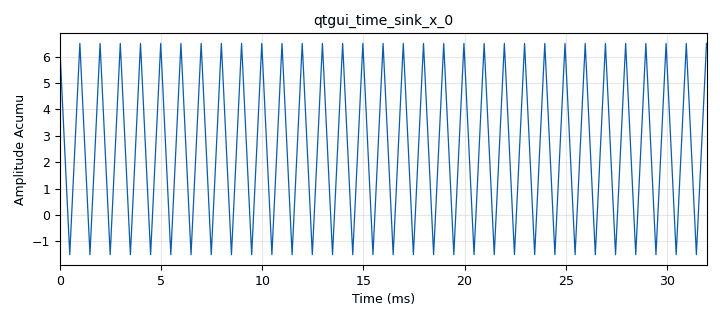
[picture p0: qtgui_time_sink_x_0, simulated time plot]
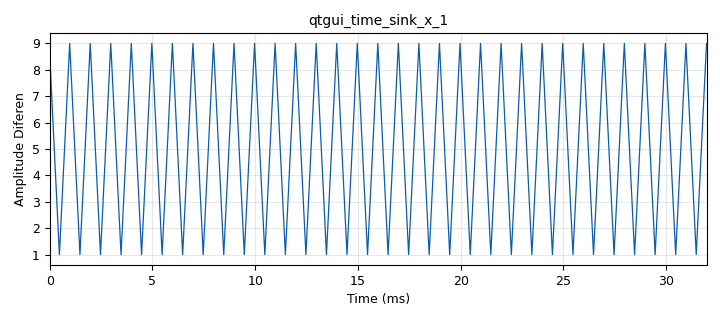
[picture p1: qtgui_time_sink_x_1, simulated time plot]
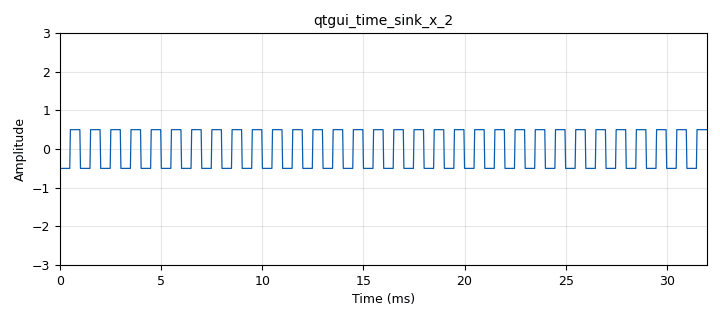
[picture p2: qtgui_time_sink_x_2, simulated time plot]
options:
  parameters:
    author: CARLOS_CARREÑO_JUAN_PINTO
    generate_options: qt_gui
    id: Lab_Comu_II_Acum_Diff
    output_language: python
    title: Lab_Comu_II_Acum_Diff
  states: {}

blocks:
- name: samp_rate
  id: variable
  parameters:
    value: '32000'
  states: {}
- name: analog_sig_source_x_0
  id: analog_sig_source_x
  parameters:
    amp: '1'
    freq: '1000'
    offset: '-0.5'
    phase: '0'
    samp_rate: samp_rate
    type: float
    waveform: analog.GR_SQR_WAVE
  states: {}
- name: epy_block_0
  id: epy_block
  parameters:
    _source_code: |-
      """
      Embedded Python Blocks:

      Each time this file is saved, GRC will instantiate the first class it finds
      to get ports and parameters of your block. The arguments to __init__  will
      be the parameters. All of them are required to have default values!
      """

      import numpy as np
      from gnuradio import gr

      class blk(gr.sync_block ):
          def __init__ ( self ) : # only default arguments here
              gr.sync_block.__init__ (
              self ,
              name ="e_Acum", # will show up in GRC
              in_sig =[ np.float32 ],
              out_sig =[ np.float32 ]
          )
          def work (self , input_items , output_items ):
              x = input_items[0] # Senial de entrada .
              y0 = output_items[0] # Senial acumulada
              y0 [:] = np.cumsum(x)
              #y0 [:] = len(y0)
              return len(y0)
    comment: Acumulador
  states: {}
- name: epy_block_1
  id: epy_block
  parameters:
    _source_code: |
      """
      Embedded Python Blocks:

      Each time this file is saved, GRC will instantiate the first class it finds
      to get ports and parameters of your block. The arguments to __init__  will
      be the parameters. All of them are required to have default values!
      """

      import numpy as np
      from gnuradio import gr

      class blk (gr.sync_block ):
          def __init__( self ) : # only default arguments here
              gr.sync_block.__init__(
                  self ,
                  name = "e_Diff", # will show up in GRC
                  in_sig =[ np.float32 ],
                  out_sig =[ np.float32 ])
              self.acum_anterior = 0.0
          def work (self , input_items , output_items ):
              x = input_items[0] # Senial de entrada .
              y0 = output_items[0] # Senial acumulada diferencial
              N = len(x)
              diff = np.cumsum(x) - self.acum_anterior
              self.acum_anterior = diff[N -1]
              y0 [:] = diff
              return len(y0)
    comment: Diferenciador
  states: {}
- name: qtgui_time_sink_x_0
  id: qtgui_time_sink_x
  parameters:
    autoscale: 'True'
    size: '1024'
    srate: samp_rate
    type: float
    ylabel: Amplitude Acumu
    ymax: '5'
    ymin: '-5'
  states: {}
- name: qtgui_time_sink_x_1
  id: qtgui_time_sink_x
  parameters:
    autoscale: 'True'
    size: '1024'
    srate: samp_rate
    type: float
    ylabel: Amplitude Diferen
    ymax: '500'
    ymin: '-500'
  states: {}
- name: qtgui_time_sink_x_2
  id: qtgui_time_sink_x
  parameters:
    size: '1024'
    srate: samp_rate
    type: float
    ymax: '3'
    ymin: '-3'
  states: {}

connections:
- [analog_sig_source_x_0, '0', epy_block_0, '0']
- [analog_sig_source_x_0, '0', epy_block_1, '0']
- [analog_sig_source_x_0, '0', qtgui_time_sink_x_2, '0']
- [epy_block_0, '0', qtgui_time_sink_x_0, '0']
- [epy_block_1, '0', qtgui_time_sink_x_1, '0']

metadata:
  file_format: 1
  grc_version: 3.10.9.2
